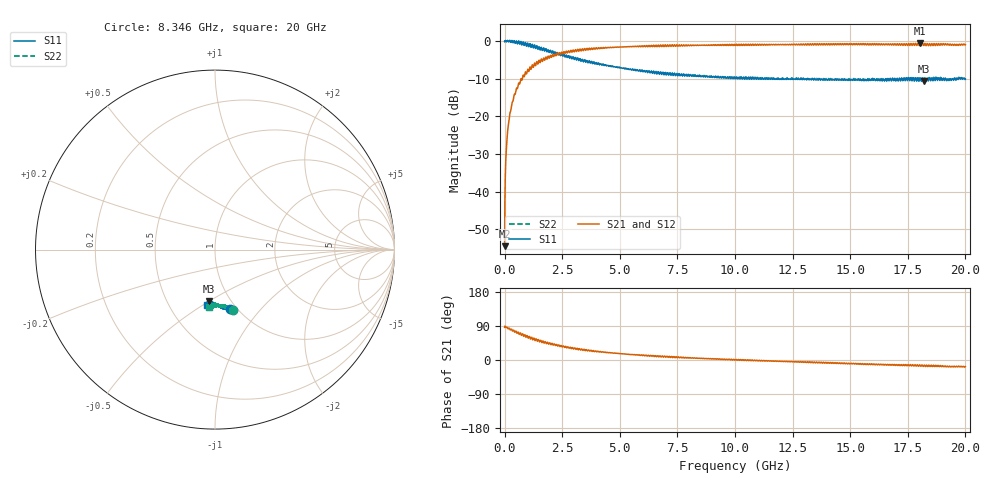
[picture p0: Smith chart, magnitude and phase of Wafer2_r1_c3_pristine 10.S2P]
!  2-Port S-parameters saved by WinCal
! VAR MeasName=S-Parameters (CALIBRATED_DATA) read from VNA (P5004A)
! VAR MeasDate=24/04/2024 16:10:34
! VAR NAME=Wafer2_r1_c3_pristine 10
! VAR FILENAME=Wafer2_r1_c3_pristine 10.S2P
! VAR DATE=24/04/2024 16:10:34
! VAR PHYS_PORTS=1,2
! VAR ObjTypeName=DATASET
! VAR IndexType=Frequency
# Hz S MA R 50
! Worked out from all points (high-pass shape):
!   4999 points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, 4.01 MHz to 20 GHz, reference 50 ohm
!   highest |S21| = -0.62 dB at 18.04 GHz (marker M1); lowest = -54.5 dB at 4.01 MHz (marker M2)
!   |S21| within 3 dB of the highest: 2.255 GHz to 2.318 GHz (62.83 MHz wide, 2.75 % of centre); 2.342 GHz to end of sweep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
!   lowest |S11| = -10.7 dB at 18.19 GHz (marker M3), VSWR 1.82, Z = 39.9 - j25.2 ohm
!   |S11| at or under -10 dB: 12.1 GHz to 16.53 GHz (4.432 GHz wide, 31 % of centre); 19.15 GHz to 19.34 GHz (182.1 MHz wide, 0.946 % of centre); 19.34712 GHz to 19.43271 GHz (85.59 MHz wide, 0.441 % of centre)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
!   |S22| runs from -10.5 to 0.1 dB; largest |S21 - S12| = 0.015
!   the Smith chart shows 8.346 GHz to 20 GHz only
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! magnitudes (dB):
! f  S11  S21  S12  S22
! 4.01 MHz  -0.1  -54.5  -54.4  -0.1
! 48.02 MHz  0.1  -32.8  -32.8  0.1
! 108 MHz  -0.1  -26.1  -26.0  -0.1
! 136 MHz  0.1  -23.8  -23.9  0.1
! 180 MHz  -0.2  -21.9  -21.8  -0.2
! 248.1 MHz  -0.1  -18.9  -19.0  0.0
! 348.1 MHz  -0.2  -16.2  -16.2  -0.2
! 464.1 MHz  -0.6  -14.1  -14.1  -0.6
! 624.1 MHz  -0.1  -11.1  -11.2  -0.2
! 824.2 MHz  -0.5  -9.1  -9.1  -0.5
! 1.04 GHz  -1.3  -8.1  -8.0  -1.3
! 1.564 GHz  -2.1  -5.4  -5.4  -2.1
! 2.348 GHz  -3.6  -3.5  -3.5  -3.6
! 3.341 GHz  -5.2  -2.5  -2.5  -5.2
! 4.797 GHz  -6.9  -1.6  -1.6  -6.8
! 6.673 GHz  -8.2  -1.1  -1.1  -8.3
! 10 GHz  -9.9  -1.1  -1.2  -9.8
! 13.33 GHz  -10.2  -1.0  -1.0  -10.0
! 16.67 GHz  -10.5  -0.9  -0.9  -10.1
! 18.04 GHz  -9.8  -0.6  -0.6  -10.0
! 18.19 GHz  -10.7  -1.2  -1.2  -10.3
! 20 GHz  -10.1  -1.0  -1.0  -9.9
